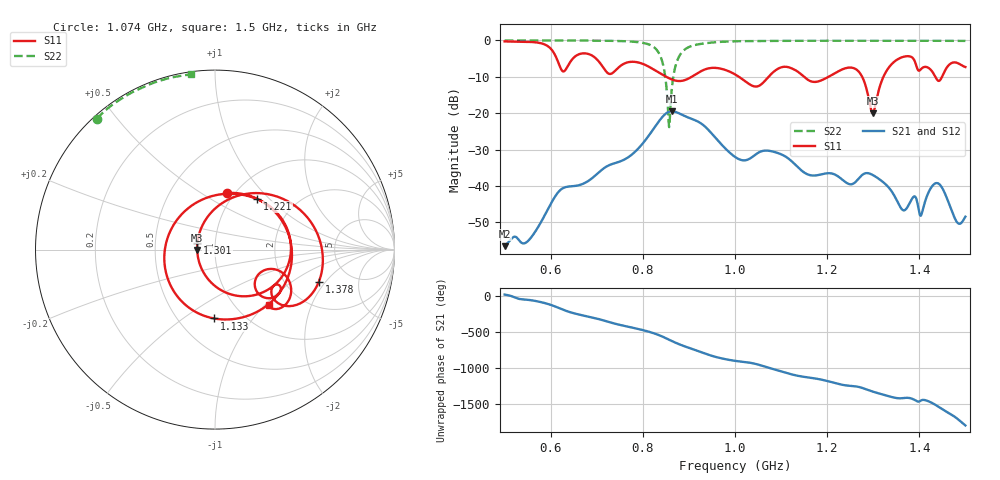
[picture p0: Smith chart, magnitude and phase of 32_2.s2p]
! TOUCHSTONE file generated by CST MICROWAVE STUDIO
! Date and time: Thu Feb 18 07:36:26 2021
! Project name: Scenario_1_Planar_Body_Tissue_Out_of_Line.cst
! Parameters = {L_HA=400; Ltissue=1000; MT=2.54; Rad_Dielectric=30; Rad_Lower=7.3; Rad_Upper=30; Wtissue=1000; a_HA=580; a_WG=246; b_HA=500; b_WG=121; c_HA=0; c_WG=187; d_feed=85; dx1=346; dy1=190.3; h_feed=15; h_lower=18; h_upper=40; hfat=3; hgap=25; hmuscle=50; hskin=1.5}
! Header version: 2018
! Port assignment regex: !\s*Touchstone port\s*([0-9]+)\s*=\s*(CST MWS port|CST DS port)\s*([0-9]+|Zmin|Zmax)\s*\(\"(.*)\"\)(\s*mode\s*([0-9]+))?.*
! Touchstone port assignment:
! Touchstone port 1 = CST MWS port 1 ("")
! Touchstone port 2 = CST MWS port 2 ("")
# GHz S DB R 50
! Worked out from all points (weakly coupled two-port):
!   1003 points, 500 MHz to 1.5 GHz, reference 50 ohm
!   highest |S21| = -19.49 dB at 863 MHz (marker M1); lowest = -56.6 dB at 500 MHz (marker M2)
!   lowest |S11| = -20.1 dB at 1.299 GHz (marker M3), VSWR 1.22, Z = 41 - j0.114 ohm
!   |S11| at or under -10 dB: 850.7 MHz to 906 MHz (55.29 MHz wide, 6.29 % of centre); 1.008 GHz to 1.073 GHz (64.4 MHz wide, 6.19 % of centre); 1.15 GHz to 1.203 GHz (53.54 MHz wide, 4.55 % of centre)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
!   |S22| runs from -23.8 to 0.0 dB; largest |S21 - S12| = 1.2e-05
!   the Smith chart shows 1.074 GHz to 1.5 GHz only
!   S11 on the Smith chart (normalised r, x): 1.074 GHz: 0.93, +0.65; 1.133 GHz: 0.74, -0.66; 1.221 GHz: 1.30, +0.85; 1.301 GHz: 0.82, +0.06; 1.378 GHz: 3.02, -1.71; 1.5 GHz: 1.40, -1.06
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0.5  -0.27 -121.6  -56.59 23.5  -56.59 23.5  -0.01 151.1
0.667  -3.60 156.9  -39.60 96.4  -39.60 96.4  -0.04 138.3
0.695  -4.61 101.5  -37.35 56.6  -37.35 56.6  -0.06 135.4
0.717  -7.99 24.6  -35.02 18.6  -35.02 18.6  -0.09 132.7
0.741  -8.21 -97.2  -33.69 -25.3  -33.69 -25.2  -0.14 129.0
0.769  -5.98 176.4  -32.07 -66.7  -32.07 -66.7  -0.27 123.3
0.834  -8.81 31.2  -22.41 179.9  -22.41 179.9  -3.30 82.5
0.863  -10.74 -46.8  -19.49 95.0  -19.49 95.0  -13.09 -134.8
0.908  -9.84 177.4  -21.68 -18.0  -21.68 -18.0  -1.43 162.6
0.94  -7.77 82.6  -24.31 -91.6  -24.31 -91.6  -0.71 151.5
1  -9.33 -64.9  -32.03 179.0  -32.03 179.0  -0.24 140.3
1.074  -9.84 77.9  -30.36 80.9  -30.36 80.9  -0.15 132.0
1.103  -7.31 -5.9  -31.49 26.4  -31.49 26.4  -0.12 129.5
1.133  -8.32 -90.9  -34.44 -25.0  -34.44 -25.0  -0.10 126.9
1.167  -11.33 163.7  -37.14 -60.1  -37.14 -60.1  -0.09 124.1
1.221  -8.73 50.3  -37.18 -137.9  -37.18 -137.9  -0.09 120.0
1.299  -20.06 -179.2  -37.01 110.2  -37.01 110.2  -0.09 114.2
1.301  -19.65 160.6  -37.16 106.2  -37.16 106.2  -0.09 114.0
1.334  -7.42 46.6  -40.51 44.9  -40.51 44.9  -0.08 111.5
1.378  -4.36 -17.2  -44.99 21.4  -44.99 21.4  -0.09 108.1
1.439  -10.87 -39.0  -39.24 -90.6  -39.24 -90.6  -0.10 103.1
1.5  -7.31 -45.7  -48.48 -2.0  -48.48 -2.0  -0.13 97.9
